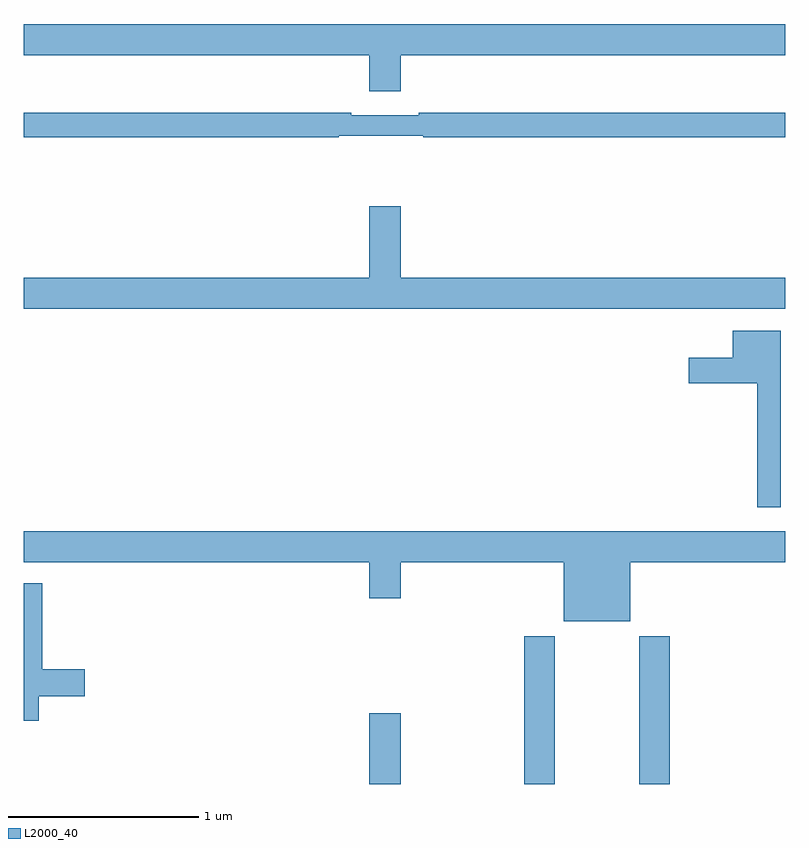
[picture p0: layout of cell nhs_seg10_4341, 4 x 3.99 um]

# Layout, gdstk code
import gdstk
lib = gdstk.Library(unit=1e-6, precision=1e-09)
def R(c, l, rs):  # rectangles x0, y0, x1, y1
    for r in rs: c.add(gdstk.rectangle(r[:2], r[2:], *l))
def P(c, l, *ps):  # polygons
    for p in ps: c.add(gdstk.Polygon(p, *l))
L2000_40 = (2000, 40)

nhs_seg10_4341 = lib.new_cell('nhs_seg10_4341')
R(nhs_seg10_4341, L2000_40, [(356.816,1284.5,356.98,1284.871), (357.629,1284.5,357.789,1285.276), (358.234,1284.5,358.394,1285.276)])
P(nhs_seg10_4341, L2000_40, [(356.98,1288.328),(359,1288.328),(359,1288.492),(355,1288.492),(355,1288.328),(356.816,1288.328),(356.816,1288.14),(356.98,1288.14)],
  [(356.654,1287.906),(357.098,1287.906),(357.098,1287.898),(359,1287.898),(359,1288.027),(357.076,1288.027),(357.076,1288.014),(356.72,1288.014),(356.72,1288.027),(355,1288.027),(355,1287.898),(356.654,1287.898)],
  [(359,1287.16),(356.98,1287.16),(356.98,1287.535),(356.816,1287.535),(356.816,1287.16),(355,1287.16),(355,1286.996),(359,1286.996)],
  [(358.975,1286.881),(358.724,1286.881),(358.724,1286.74),(358.494,1286.74),(358.494,1286.606),(358.854,1286.606),(358.854,1285.953),(358.975,1285.953)],
  [(358.186,1285.664),(359,1285.664),(359,1285.828),(355,1285.828),(355,1285.664),(356.816,1285.664),(356.816,1285.476),(356.98,1285.476),(356.98,1285.664),(357.836,1285.664),(357.836,1285.355),(358.186,1285.355)],
  [(355.078,1284.961),(355.321,1284.961),(355.321,1285.103),(355.097,1285.103),(355.097,1285.554),(355,1285.554),(355,1284.833),(355.078,1284.833)])

lib.write_gds('nhs_seg10_4341.gds')
